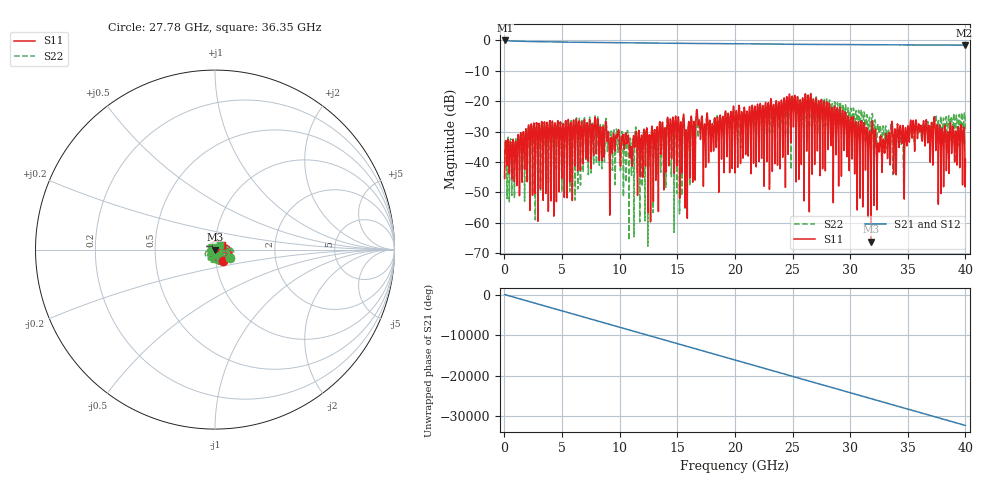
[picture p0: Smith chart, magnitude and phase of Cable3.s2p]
!UUTPORTS:-2,3 CABLE SERIAL NUMBER 09-11-609
! 11/2/2010 1:58:22 PM
! RESWITHCABLESETTEST.S2P
! CHANNEL.1
! TR.MEASUREMENT
! CORRECTED.DATA
# GHZ S RI R 50.0
! FREQ.GHZ  S11RE  S11M  S21RE  S21M  S12RE  S12M  S22RE  S22M
!; PortSelection: Port_12
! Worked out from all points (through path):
!   7999 points, 10 MHz to 40 GHz, reference 50 ohm
!   highest |S21| = 0.00 dB at 35 MHz (marker M1); lowest = -1.5 dB at 39.92 GHz (marker M2)
!   group delay of S21, straight-line fit = 2.25 ns
!   lowest |S11| = -66.3 dB at 31.79 GHz (marker M3), VSWR 1.00, Z = 50 + j0.00621 ohm
!   |S11| at or under -10 dB: start of sweep to end of sweep
!   |S22| runs from -67.8 to -17.4 dB; largest |S21 - S12| = 0.0098
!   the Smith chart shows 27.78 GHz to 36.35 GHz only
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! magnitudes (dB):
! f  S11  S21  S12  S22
! 10 MHz  -45.5  0.0  0.0  -45.5
! 35 MHz  -36.3  0.0  0.0  -37.0
! 2.205 GHz  -56.0  -0.3  -0.3  -45.8
! 6.675 GHz  -27.5  -0.6  -0.6  -27.2
! 7.98 GHz  -36.4  -0.7  -0.7  -40.5
! 9.23 GHz  -32.5  -0.7  -0.7  -31.0
! 9.805 GHz  -31.5  -0.7  -0.7  -33.2
! 10.94 GHz  -35.4  -0.8  -0.8  -32.7
! 13.34 GHz  -41.2  -0.9  -0.9  -44.0
! 14.96 GHz  -40.3  -0.9  -0.9  -41.0
! 15.8 GHz  -30.8  -1.0  -1.0  -33.7
! 16.78 GHz  -26.1  -1.0  -1.0  -30.5
! 17.34 GHz  -28.0  -1.0  -1.0  -29.7
! 20 GHz  -43.6  -1.1  -1.1  -32.0
! 26.67 GHz  -26.8  -1.3  -1.3  -22.8
! 31.79 GHz  -66.3  -1.4  -1.4  -30.8
! 33.34 GHz  -32.2  -1.4  -1.4  -29.6
! 34.56 GHz  -28.2  -1.5  -1.5  -33.1
! 35.36 GHz  -31.7  -1.5  -1.5  -30.6
! 39.51 GHz  -41.9  -1.5  -1.5  -26.2
! 39.92 GHz  -31.7  -1.5  -1.5  -24.0
! 40 GHz  -39.1  -1.5  -1.5  -29.5
